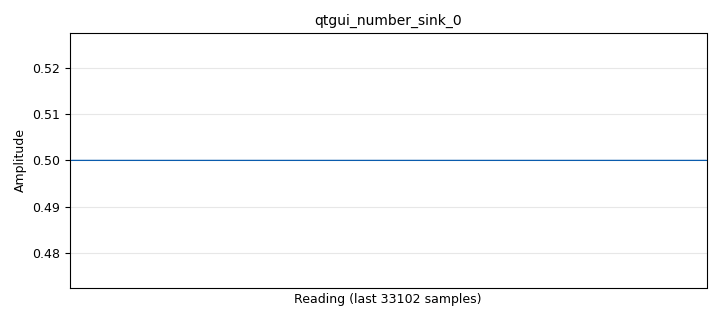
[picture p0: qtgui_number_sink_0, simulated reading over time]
options:
  parameters:
    author: akansha
    generate_options: qt_gui
    generator_class_name: PythonQtGuiGenerator
    generator_module: gnuradio.grc.workflows.python_qt_gui
    id: BER_measurement
    output_language: python
    title: Not titled yet
  states: {}

blocks:
- name: samp_rate
  id: variable
  parameters:
    value: '32000'
  states: {}
- name: analog_noise_source_x_0
  id: analog_noise_source_x
  parameters:
    amp: '0.01'
    noise_type: analog.GR_GAUSSIAN
    seed: '0'
    type: float
  states: {}
- name: analog_random_source_x_0
  id: analog_random_source_x
  parameters:
    max: '1'
    min: '0'
    num_samps: '1000'
    repeat: 'True'
    type: byte
  states: {}
- name: blocks_add_xx_0
  id: blocks_add_xx
  parameters:
    type: float
  states: {}
- name: blocks_char_to_float_0
  id: blocks_char_to_float
  parameters:
    scale: '1'
  states: {}
- name: blocks_delay_0
  id: blocks_delay
  parameters:
    delay: '30'
    type: byte
  states: {}
- name: blocks_moving_average_xx_0
  id: blocks_moving_average_xx
  parameters:
    length: '1000'
    max_iter: '4000'
    scale: '.001'
    type: float
  states: {}
- name: blocks_throttle2_0
  id: blocks_throttle2
  parameters:
    samples_per_second: samp_rate
    type: float
  states: {}
- name: blocks_xor_xx_0
  id: blocks_xor_xx
  parameters:
    type: byte
  states: {}
- name: digital_binary_slicer_fb_0
  id: digital_binary_slicer_fb
  parameters: {}
  states: {}
- name: digital_chunks_to_symbols_xx_0
  id: digital_chunks_to_symbols_xx
  parameters:
    dimension: '2'
    in_type: byte
    out_type: float
    symbol_table: '[-1,1]'
  states: {}
- name: qtgui_number_sink_0
  id: qtgui_number_sink
  parameters:
    autoscale: 'True'
    graph_type: qtgui.NUM_GRAPH_VERT
    type: float
  states: {}

connections:
- [analog_noise_source_x_0, '0', blocks_add_xx_0, '1']
- [analog_random_source_x_0, '0', blocks_delay_0, '0']
- [analog_random_source_x_0, '0', digital_chunks_to_symbols_xx_0, '0']
- [blocks_add_xx_0, '0', digital_binary_slicer_fb_0, '0']
- [blocks_char_to_float_0, '0', blocks_moving_average_xx_0, '0']
- [blocks_delay_0, '0', blocks_xor_xx_0, '0']
- [blocks_moving_average_xx_0, '0', qtgui_number_sink_0, '0']
- [blocks_throttle2_0, '0', blocks_add_xx_0, '0']
- [blocks_xor_xx_0, '0', blocks_char_to_float_0, '0']
- [digital_binary_slicer_fb_0, '0', blocks_xor_xx_0, '1']
- [digital_chunks_to_symbols_xx_0, '0', blocks_throttle2_0, '0']

metadata:
  file_format: 1
  grc_version: v3.11.0.0git-1083-ge2c22a2b
